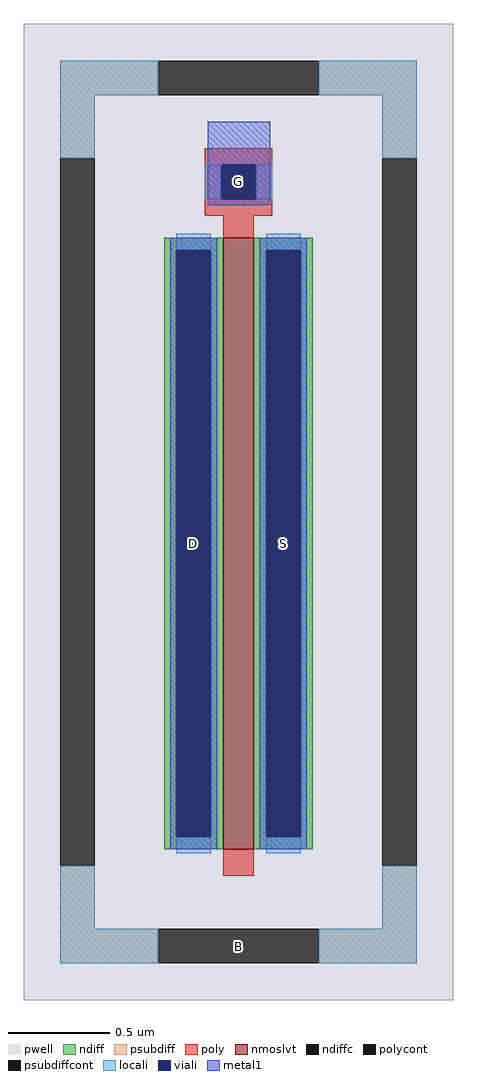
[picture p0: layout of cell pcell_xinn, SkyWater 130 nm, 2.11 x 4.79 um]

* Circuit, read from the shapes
.subckt pcell_xinn B D S G
XM1 S G D B sky130_fd_pr__nfet_01v8_lvt w=3 l=0.15
.ends

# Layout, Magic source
magic
tech sky130A
magscale 1 2
<< pwell >>
rect -211 -479 211 479
<< nmoslvt >>
rect -15 -331 15 269
<< ndiff >>
rect -73 257 -15 269
rect -73 -319 -61 257
rect -27 -319 -15 257
rect -73 -331 -15 -319
rect 15 257 73 269
rect 15 -319 27 257
rect 61 -319 73 257
rect 15 -331 73 -319
<< ndiffc >>
rect -61 -319 -27 257
rect 27 -319 61 257
<< psubdiff >>
rect -175 409 -79 443
rect 79 409 175 443
rect -175 347 -141 409
rect 141 347 175 409
rect -175 -409 -141 -347
rect 141 -409 175 -347
rect -175 -443 -79 -409
rect 79 -443 175 -409
<< psubdiffcont >>
rect -79 409 79 443
rect -175 -347 -141 347
rect 141 -347 175 347
rect -79 -443 79 -409
<< poly >>
rect -33 341 33 357
rect -33 307 -17 341
rect 17 307 33 341
rect -33 291 33 307
rect -15 269 15 291
rect -15 -357 15 -331
<< polycont >>
rect -17 307 17 341
<< locali >>
rect -175 409 -79 443
rect 79 409 175 443
rect -175 347 -141 409
rect 141 347 175 409
rect -33 307 -17 341
rect 17 307 33 341
rect -61 257 -27 273
rect -61 -335 -27 -319
rect 27 257 61 273
rect 27 -335 61 -319
rect -175 -409 -141 -347
rect 141 -409 175 -347
rect -175 -443 -79 -409
rect 79 -443 175 -409
<< viali >>
rect -17 307 17 341
rect -61 -319 -27 257
rect 27 -319 61 257
<< metal1 >>
rect -30 341 31 383
rect -30 307 -17 341
rect 17 307 31 341
rect -30 302 31 307
rect -29 301 29 302
rect -67 257 -21 269
rect -67 -319 -61 257
rect -27 -319 -21 257
rect -67 -331 -21 -319
rect 21 257 67 269
rect 21 -319 27 257
rect 61 -319 67 257
rect 21 -331 67 -319
<< labels >>
rlabel psubdiffcont 0 -426 0 -426 0 B
port 1 nsew
rlabel ndiffc -44 -31 -44 -31 0 D
port 2 nsew
rlabel ndiffc 44 -31 44 -31 0 S
port 3 nsew
rlabel polycont 0 324 0 324 0 G
port 4 nsew
<< end >>
